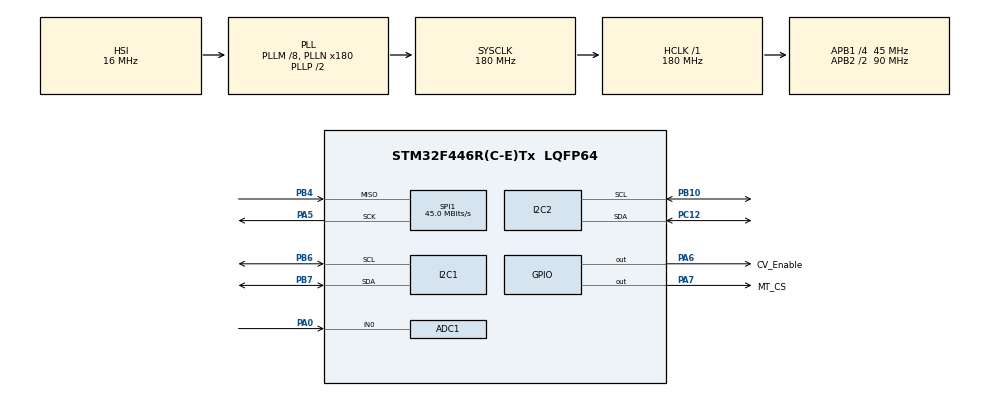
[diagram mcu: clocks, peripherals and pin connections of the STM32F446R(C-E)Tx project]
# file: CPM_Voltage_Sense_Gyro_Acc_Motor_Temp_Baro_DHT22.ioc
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ADC1.Channel-0\#ChannelRegularConversion=ADC_CHANNEL_0
ADC1.ClockPrescaler=ADC_CLOCK_SYNC_PCLK_DIV8
ADC1.ContinuousConvMode=ENABLE
ADC1.DMAContinuousRequests=ENABLE
ADC1.NbrOfConversionFlag=1
ADC1.Rank-0\#ChannelRegularConversion=1
ADC1.SamplingTime-0\#ChannelRegularConversion=ADC_SAMPLETIME_3CYCLES
ADC1.master=1
Dma.ADC1.0.Direction=DMA_PERIPH_TO_MEMORY
Dma.ADC1.0.FIFOMode=DMA_FIFOMODE_DISABLE
Dma.ADC1.0.Instance=DMA2_Stream0
Dma.ADC1.0.MemDataAlignment=DMA_MDATAALIGN_HALFWORD
Dma.ADC1.0.MemInc=DMA_MINC_ENABLE
Dma.ADC1.0.Mode=DMA_CIRCULAR
Dma.ADC1.0.PeriphDataAlignment=DMA_PDATAALIGN_HALFWORD
Dma.ADC1.0.PeriphInc=DMA_PINC_DISABLE
Dma.ADC1.0.Priority=DMA_PRIORITY_LOW
Dma.Request0=ADC1
I2C2.I2C_Mode=I2C_Fast
Mcu.Family=STM32F4
Mcu.Name=STM32F446R(C-E)Tx
Mcu.Package=LQFP64
NVIC.DMA2_Stream0_IRQn=true\:0\:0\:false\:false\:true\:false\:true\:true
NVIC.PriorityGroup=NVIC_PRIORITYGROUP_4
NVIC.RCC_IRQn=true\:0\:0\:false\:false\:true\:true\:false\:true
PA0-WKUP.Signal=ADCx_IN0
PA5.Mode=RX_Only_Simplex_Unidirect_Master
PA5.Signal=SPI1_SCK
PA6.GPIO_Label=CV_Enable
PA6.GPIO_PuPd=GPIO_PULLDOWN
PA6.Signal=GPIO_Output
PA7.GPIO_Label=MT_CS
PA7.Signal=GPIO_Output
PB10.Mode=I2C
PB10.Signal=I2C2_SCL
PB4.Mode=RX_Only_Simplex_Unidirect_Master
PB4.Signal=SPI1_MISO
PB6.Mode=I2C
PB6.Signal=I2C1_SCL
PB7.Mode=I2C
PB7.Signal=I2C1_SDA
PC12.Mode=I2C
PC12.Signal=I2C2_SDA
PC14-OSC32_IN.Mode=LSE-External-Oscillator
PC14-OSC32_IN.Signal=RCC_OSC32_IN
PC15-OSC32_OUT.Mode=LSE-External-Oscillator
PC15-OSC32_OUT.Signal=RCC_OSC32_OUT
PH0-OSC_IN.Mode=HSE-External-Oscillator
PH0-OSC_IN.Signal=RCC_OSC_IN
PH1-OSC_OUT.Mode=HSE-External-Oscillator
PH1-OSC_OUT.Signal=RCC_OSC_OUT
ProjectManager.HeapSize=0x200
ProjectManager.StackSize=0x400
ProjectManager.TargetToolchain=STM32CubeIDE
RCC.AHBFreq_Value=180000000
RCC.APB1CLKDivider=RCC_HCLK_DIV4
RCC.APB1Freq_Value=45000000
RCC.APB1TimFreq_Value=90000000
RCC.APB2CLKDivider=RCC_HCLK_DIV2
RCC.APB2Freq_Value=90000000
RCC.APB2TimFreq_Value=180000000
RCC.CortexFreq_Value=180000000
RCC.HCLKFreq_Value=180000000
RCC.HSE_VALUE=8000000
RCC.PLLM=8
RCC.PLLN=180
RCC.SYSCLKFreq_VALUE=180000000
RCC.SYSCLKSource=RCC_SYSCLKSOURCE_PLLCLK
RCC.USBFreq_Value=180000000
RCC.VCOOutputFreq_Value=360000000
SH.ADCx_IN0.0=ADC1_IN0,IN0
SPI1.CalculateBaudRate=45.0 MBits/s
SPI1.Direction=SPI_DIRECTION_2LINES_RXONLY
SPI1.Mode=SPI_MODE_MASTER
SPI1.VirtualType=VM_MASTER
TIM1.Prescaler=45000
VP_TIM1_VS_ClockSourceINT.Mode=Internal
board=custom

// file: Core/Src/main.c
/* USER CODE BEGIN Header */
/**
  ******************************************************************************
  * @file           : main.c
  * @brief          : Main program body
  ******************************************************************************
  * @attention
  *
  * Copyright (c) 2023 STMicroelectronics.
  * All rights reserved.
  *
  * This software is licensed under terms that can be found in the LICENSE file
  * in the root directory of this software component.
  * If no LICENSE file comes with this software, it is provided AS-IS.
  *
  ******************************************************************************
  */
/* USER CODE END Header */
#include "main.h"

/* USER CODE BEGIN Includes */
#include <stdbool.h>
#include "mpu6050.h"
#include "MAX6675.h"
#include "BMP180.h"
#include "DHT.h"

/* USER CODE END Includes */

/* USER CODE BEGIN PD */
#define CV_En_Pin GPIO_PIN_6
/* USER CODE END PD */

ADC_HandleTypeDef hadc1;
DMA_HandleTypeDef hdma_adc1;

I2C_HandleTypeDef hi2c1;
I2C_HandleTypeDef hi2c2;

SPI_HandleTypeDef hspi1;

TIM_HandleTypeDef htim1;

/* USER CODE BEGIN PV */
float Ax, Ay, Az, Gx, Gy, Gz;

uint8_t err_gyro = 0;

//Barometer_Sensor
float Temperature2;
float Pressure;
float Altitude;

//DHT22 Temperature Sensor
DHT_DataTypedef DHT11_Data;
float Temperature1, Humidity;

uint16_t val[2];

float CpmVoltage = 5.6;
bool CV_Voltage_ui=0;

float temperature;
uint16_t timer_val=0;

/* USER CODE END PV */

void SystemClock_Config(void);
static void MX_GPIO_Init(void);
static void MX_DMA_Init(void);
static void MX_ADC1_Init(void);
static void MX_I2C1_Init(void);
static void MX_SPI1_Init(void);
static void MX_TIM1_Init(void);
static void MX_I2C2_Init(void);

int main(void)
{

  /* MCU Configuration--------------------------------------------------------*/

  /* Reset of all peripherals, Initializes the Flash interface and the Systick. */
  HAL_Init();

  /* Configure the system clock */
  SystemClock_Config();

  /* Initialize all configured peripherals */
  MX_GPIO_Init();
  MX_DMA_Init();
  MX_ADC1_Init();
  MX_I2C1_Init();
  MX_SPI1_Init();
  MX_TIM1_Init();
  MX_I2C2_Init();
  /* USER CODE BEGIN 2 */
  BMP180_Start();
  HAL_ADC_Init(&hadc1);
  MPU6050_Init();
  HAL_ADC_Start_DMA(&hadc1, val, 1);

  void barometer_sensor()
  {
  	  Temperature2 = BMP180_GetTemp();
  	  Pressure = BMP180_GetPress(0);
  	  Altitude = BMP180_GetAlt(0);
  }

  void dht22_sensor()
  {
  	DHT_GetData(&DHT11_Data);
  	Temperature1 =((float)DHT11_Data.Temperature)/10.0;
  	Humidity = ((float)DHT11_Data.Humidity)/10.0;
  }

  /* USER CODE END 2 */

  /* Infinite loop */
  /* USER CODE BEGIN WHILE */
  while (1)
  {
	  temperature=Max6675_Read_Temp();

	  //barometer_sensor();
	  //dht22_sensor();

	  MPU6050_Read_Accel (&Ax, &Ay, &Az);
	  MPU6050_Read_Gyro(&Gx, &Gy, &Gz);
	  //HAL_Delay(250);

	  HAL_GPIO_WritePin(GPIOA, CV_En_Pin, CV_Voltage_ui);
	  CpmVoltage = val[0]*(5.0/4096.0);
	  HAL_Delay(500);
	  //HAL_Delay(100);

    /* USER CODE END WHILE */

  }
}

void SystemClock_Config(void)
{
  RCC_OscInitTypeDef RCC_OscInitStruct = {0};
  RCC_ClkInitTypeDef RCC_ClkInitStruct = {0};

  /** Configure the main internal regulator output voltage
  */
  __HAL_RCC_PWR_CLK_ENABLE();
  __HAL_PWR_VOLTAGESCALING_CONFIG(PWR_REGULATOR_VOLTAGE_SCALE1);

  /** Initializes the RCC Oscillators according to the specified parameters
  * in the RCC_OscInitTypeDef structure.
  */
  RCC_OscInitStruct.OscillatorType = RCC_OSCILLATORTYPE_HSI;
  RCC_OscInitStruct.HSIState = RCC_HSI_ON;
  RCC_OscInitStruct.HSICalibrationValue = RCC_HSICALIBRATION_DEFAULT;
  RCC_OscInitStruct.PLL.PLLState = RCC_PLL_ON;
  RCC_OscInitStruct.PLL.PLLSource = RCC_PLLSOURCE_HSI;
  RCC_OscInitStruct.PLL.PLLM = 8;
  RCC_OscInitStruct.PLL.PLLN = 180;
  RCC_OscInitStruct.PLL.PLLP = RCC_PLLP_DIV2;
  RCC_OscInitStruct.PLL.PLLQ = 2;
  RCC_OscInitStruct.PLL.PLLR = 2;
  if (HAL_RCC_OscConfig(&RCC_OscInitStruct) != HAL_OK)
  {
    Error_Handler();
  }

  /** Activate the Over-Drive mode
  */
  if (HAL_PWREx_EnableOverDrive() != HAL_OK)
  {
    Error_Handler();
  }

  /** Initializes the CPU, AHB and APB buses clocks
  */
  RCC_ClkInitStruct.ClockType = RCC_CLOCKTYPE_HCLK|RCC_CLOCKTYPE_SYSCLK
                              |RCC_CLOCKTYPE_PCLK1|RCC_CLOCKTYPE_PCLK2;
  RCC_ClkInitStruct.SYSCLKSource = RCC_SYSCLKSOURCE_PLLCLK;
  RCC_ClkInitStruct.AHBCLKDivider = RCC_SYSCLK_DIV1;
  RCC_ClkInitStruct.APB1CLKDivider = RCC_HCLK_DIV4;
  RCC_ClkInitStruct.APB2CLKDivider = RCC_HCLK_DIV2;

  if (HAL_RCC_ClockConfig(&RCC_ClkInitStruct, FLASH_LATENCY_5) != HAL_OK)
  {
    Error_Handler();
  }
}

static void MX_ADC1_Init(void)
{

  ADC_ChannelConfTypeDef sConfig = {0};

  /** Configure the global features of the ADC (Clock, Resolution, Data Alignment and number of conversion)
  */
  hadc1.Instance = ADC1;
  hadc1.Init.ClockPrescaler = ADC_CLOCK_SYNC_PCLK_DIV8;
  hadc1.Init.Resolution = ADC_RESOLUTION_12B;
  hadc1.Init.ScanConvMode = DISABLE;
  hadc1.Init.ContinuousConvMode = ENABLE;
  hadc1.Init.DiscontinuousConvMode = DISABLE;
  hadc1.Init.ExternalTrigConvEdge = ADC_EXTERNALTRIGCONVEDGE_NONE;
  hadc1.Init.ExternalTrigConv = ADC_SOFTWARE_START;
  hadc1.Init.DataAlign = ADC_DATAALIGN_RIGHT;
  hadc1.Init.NbrOfConversion = 1;
  hadc1.Init.DMAContinuousRequests = ENABLE;
  hadc1.Init.EOCSelection = ADC_EOC_SINGLE_CONV;
  if (HAL_ADC_Init(&hadc1) != HAL_OK)
  {
    Error_Handler();
  }

  /** Configure for the selected ADC regular channel its corresponding rank in the sequencer and its sample time.
  */
  sConfig.Channel = ADC_CHANNEL_0;
  sConfig.Rank = 1;
  sConfig.SamplingTime = ADC_SAMPLETIME_3CYCLES;
  if (HAL_ADC_ConfigChannel(&hadc1, &sConfig) != HAL_OK)
  {
    Error_Handler();
  }

}

static void MX_I2C1_Init(void)
{

  hi2c1.Instance = I2C1;
  hi2c1.Init.ClockSpeed = 100000;
  hi2c1.Init.DutyCycle = I2C_DUTYCYCLE_2;
  hi2c1.Init.OwnAddress1 = 0;
  hi2c1.Init.AddressingMode = I2C_ADDRESSINGMODE_7BIT;
  hi2c1.Init.DualAddressMode = I2C_DUALADDRESS_DISABLE;
  hi2c1.Init.OwnAddress2 = 0;
  hi2c1.Init.GeneralCallMode = I2C_GENERALCALL_DISABLE;
  hi2c1.Init.NoStretchMode = I2C_NOSTRETCH_DISABLE;
  if (HAL_I2C_Init(&hi2c1) != HAL_OK)
  {
    Error_Handler();
  }

}

static void MX_I2C2_Init(void)
{

  hi2c2.Instance = I2C2;
  hi2c2.Init.ClockSpeed = 400000;
  hi2c2.Init.DutyCycle = I2C_DUTYCYCLE_2;
  hi2c2.Init.OwnAddress1 = 0;
  hi2c2.Init.AddressingMode = I2C_ADDRESSINGMODE_7BIT;
  hi2c2.Init.DualAddressMode = I2C_DUALADDRESS_DISABLE;
  hi2c2.Init.OwnAddress2 = 0;
  hi2c2.Init.GeneralCallMode = I2C_GENERALCALL_DISABLE;
  hi2c2.Init.NoStretchMode = I2C_NOSTRETCH_DISABLE;
  if (HAL_I2C_Init(&hi2c2) != HAL_OK)
  {
    Error_Handler();
  }

}

static void MX_SPI1_Init(void)
{

  /* SPI1 parameter configuration*/
  hspi1.Instance = SPI1;
  hspi1.Init.Mode = SPI_MODE_MASTER;
  hspi1.Init.Direction = SPI_DIRECTION_2LINES_RXONLY;
  hspi1.Init.DataSize = SPI_DATASIZE_8BIT;
  hspi1.Init.CLKPolarity = SPI_POLARITY_LOW;
  hspi1.Init.CLKPhase = SPI_PHASE_1EDGE;
  hspi1.Init.NSS = SPI_NSS_SOFT;
  hspi1.Init.BaudRatePrescaler = SPI_BAUDRATEPRESCALER_2;
  hspi1.Init.FirstBit = SPI_FIRSTBIT_MSB;
  hspi1.Init.TIMode = SPI_TIMODE_DISABLE;
  hspi1.Init.CRCCalculation = SPI_CRCCALCULATION_DISABLE;
  hspi1.Init.CRCPolynomial = 10;
  if (HAL_SPI_Init(&hspi1) != HAL_OK)
  {
    Error_Handler();
  }

}

static void MX_TIM1_Init(void)
{

  TIM_ClockConfigTypeDef sClockSourceConfig = {0};
  TIM_MasterConfigTypeDef sMasterConfig = {0};

  htim1.Instance = TIM1;
  htim1.Init.Prescaler = 45000;
  htim1.Init.CounterMode = TIM_COUNTERMODE_UP;
  htim1.Init.Period = 65535;
  htim1.Init.ClockDivision = TIM_CLOCKDIVISION_DIV1;
  htim1.Init.RepetitionCounter = 0;
  htim1.Init.AutoReloadPreload = TIM_AUTORELOAD_PRELOAD_DISABLE;
  if (HAL_TIM_Base_Init(&htim1) != HAL_OK)
  {
    Error_Handler();
  }
  sClockSourceConfig.ClockSource = TIM_CLOCKSOURCE_INTERNAL;
  if (HAL_TIM_ConfigClockSource(&htim1, &sClockSourceConfig) != HAL_OK)
  {
    Error_Handler();
  }
  sMasterConfig.MasterOutputTrigger = TIM_TRGO_RESET;
  sMasterConfig.MasterSlaveMode = TIM_MASTERSLAVEMODE_DISABLE;
  if (HAL_TIMEx_MasterConfigSynchronization(&htim1, &sMasterConfig) != HAL_OK)
  {
    Error_Handler();
  }

}

static void MX_DMA_Init(void)
{

  /* DMA controller clock enable */
  __HAL_RCC_DMA2_CLK_ENABLE();

  /* DMA interrupt init */
  /* DMA2_Stream0_IRQn interrupt configuration */
  HAL_NVIC_SetPriority(DMA2_Stream0_IRQn, 0, 0);
  HAL_NVIC_EnableIRQ(DMA2_Stream0_IRQn);

}

static void MX_GPIO_Init(void)
{
  GPIO_InitTypeDef GPIO_InitStruct = {0};

  /* GPIO Ports Clock Enable */
  __HAL_RCC_GPIOC_CLK_ENABLE();
  __HAL_RCC_GPIOH_CLK_ENABLE();
  __HAL_RCC_GPIOA_CLK_ENABLE();
  __HAL_RCC_GPIOB_CLK_ENABLE();

  /*Configure GPIO pin Output Level */
  HAL_GPIO_WritePin(GPIOA, CV_Enable_Pin|MT_CS_Pin, GPIO_PIN_RESET);

  /*Configure GPIO pin : CV_Enable_Pin */
  GPIO_InitStruct.Pin = CV_Enable_Pin;
  GPIO_InitStruct.Mode = GPIO_MODE_OUTPUT_PP;
  GPIO_InitStruct.Pull = GPIO_PULLDOWN;
  GPIO_InitStruct.Speed = GPIO_SPEED_FREQ_LOW;
  HAL_GPIO_Init(CV_Enable_GPIO_Port, &GPIO_InitStruct);

  /*Configure GPIO pin : MT_CS_Pin */
  GPIO_InitStruct.Pin = MT_CS_Pin;
  GPIO_InitStruct.Mode = GPIO_MODE_OUTPUT_PP;
  GPIO_InitStruct.Pull = GPIO_NOPULL;
  GPIO_InitStruct.Speed = GPIO_SPEED_FREQ_LOW;
  HAL_GPIO_Init(MT_CS_GPIO_Port, &GPIO_InitStruct);

}

/* USER CODE BEGIN 4 */
int _write(int file, char *ptr, int len)
{
	int DataIdx;

	for (DataIdx = 0; DataIdx < len; DataIdx++)
	{
		ITM_SendChar(*ptr++);
	}
	return len;
}
/* USER CODE END 4 */

void Error_Handler(void)
{
  __disable_irq();
  while (1)
  {
  }
}
